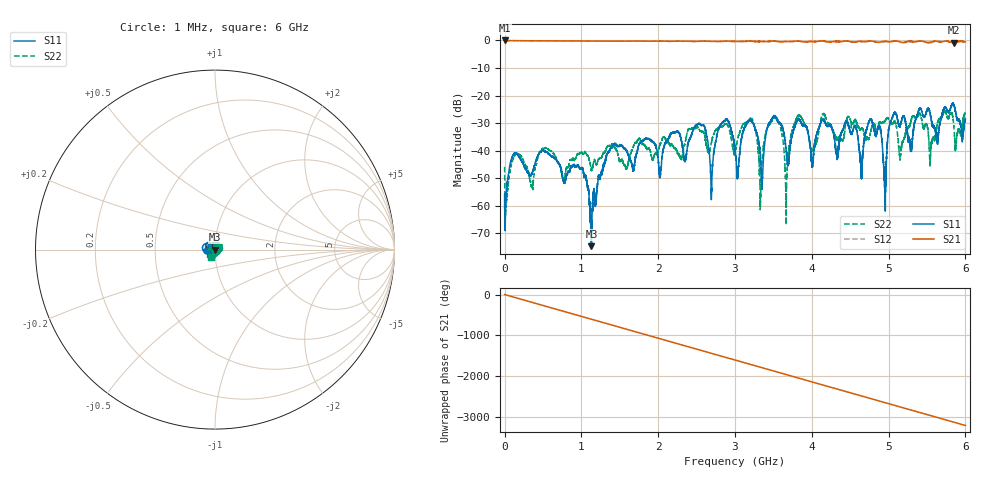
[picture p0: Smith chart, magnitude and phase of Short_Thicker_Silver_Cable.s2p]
# GHZ S RI R 50.000000000000
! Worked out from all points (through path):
!   10000 points, 1 MHz to 6 GHz, reference 50 ohm
!   highest |S21| = 0.00 dB at 1.6 MHz (marker M1); lowest = -0.8 dB at 5.848 GHz (marker M2)
!   group delay of S21, straight-line fit = 1.49 ns
!   lowest |S11| = -74.7 dB at 1.131 GHz (marker M3), VSWR 1.00, Z = 50 - j0.0178 ohm
!   |S11| at or under -10 dB: start of sweep to end of sweep
!   |S22| runs from -66.9 to -25.4 dB; largest |S21 - S12| = 0.051
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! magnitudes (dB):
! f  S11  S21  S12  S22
! 1 MHz  -60.8  0.0  0.0  -45.9
! 1.6 MHz  -60.2  0.0  0.0  -47.7
! 134.8 MHz  -40.9  -0.1  -0.1  -41.7
! 1.001 GHz  -46.3  -0.2  -0.2  -40.6
! 1.131 GHz  -74.7  -0.2  -0.2  -47.1
! 1.416 GHz  -37.8  -0.2  -0.2  -37.8
! 2.001 GHz  -43.5  -0.2  -0.3  -40.2
! 2.88 GHz  -28.8  -0.2  -0.3  -30.2
! 3.001 GHz  -39.5  -0.3  -0.3  -40.7
! 3.215 GHz  -29.1  -0.2  -0.3  -28.4
! 3.336 GHz  -44.5  -0.3  -0.4  -53.7
! 3.511 GHz  -27.8  -0.2  -0.3  -27.7
! 3.667 GHz  -40.0  -0.4  -0.4  -59.2
! 3.823 GHz  -28.7  -0.2  -0.3  -27.2
! 4.001 GHz  -44.8  -0.4  -0.4  -39.9
! 4.147 GHz  -28.8  -0.2  -0.2  -26.7
! 4.643 GHz  -48.1  -0.3  -0.4  -32.3
! 4.764 GHz  -28.6  -0.2  -0.2  -33.6
! 4.951 GHz  -56.0  -0.3  -0.4  -29.5
! 5 GHz  -32.5  -0.4  -0.4  -28.6
! 5.848 GHz  -23.6  -0.8  -0.9  -30.9
! 6 GHz  -28.5  -0.5  -0.4  -26.0
